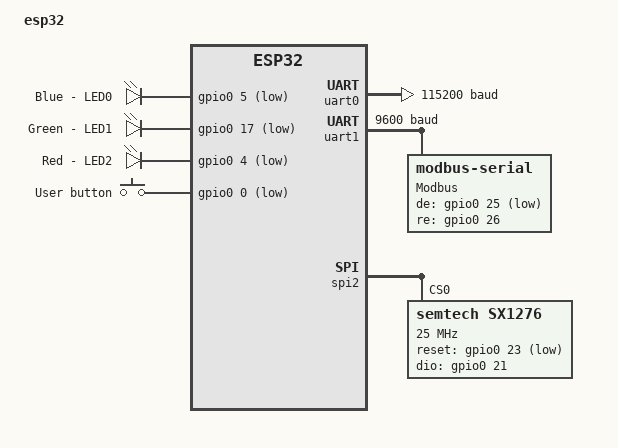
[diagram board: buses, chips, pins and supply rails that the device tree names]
/dts-v1/;

#include <espressif/esp32.dtsi>
#include "powerbot.dtsi"

/ {
	model = "esp32";
	compatible = "espressif,esp32";

	aliases {
		led0 = &blue_led;
		led1 = &green_led;
		led2 = &red_led;
		sw0 = &button0;
		lora0 = &sx1276;
	};

	chosen {
		zephyr,sram = &sram0;
		zephyr,console = &uart0;
		zephyr,shell-uart = &uart0;
		zephyr,flash = &flash0;
	};

	leds {
		compatible = "gpio-leds";

		blue_led: led_0 {
			gpios =  <&gpio0 5 GPIO_ACTIVE_LOW>;
			label = "Blue - LED0";
		};

		green_led: led_1 {
			gpios =  <&gpio0 17 GPIO_ACTIVE_LOW>;
			label = "Green - LED1";
		};

		red_led: led_2 {
			gpios =  <&gpio0 4 GPIO_ACTIVE_LOW>;
			label = "Red - LED2";
		};
	};

	buttons {
             compatible = "gpio-keys";
             button0: button_0 {
                     gpios = < &gpio0 0 GPIO_ACTIVE_LOW>;
                     label = "User button";
             };
             /* ... other buttons ... */
     };
};

&cpu0 {
	clock-frequency = <ESP32_CLK_CPU_240M>;
};

&cpu1 {
	clock-frequency = <ESP32_CLK_CPU_240M>;
};

&uart0 {
	status = "okay";
	current-speed = <115200>;
	pinctrl-0 = <&console_uart>;
	pinctrl-names = "default";
};

&uart1 {
	status = "okay";
	current-speed = <9600>;
	pinctrl-0 = <&rs485_uart>;
	pinctrl-names = "default";

	modbus0 {
		compatible = "zephyr,modbus-serial";
		status = "okay";
		label = "Modbus";
		de-gpios = <&gpio0 25 GPIO_ACTIVE_LOW>;
		re-gpios = <&gpio0 26 GPIO_ACTIVE_HIGH>;
	};
};

&gpio0 {
	status = "okay";
};

&gpio1 {
	status = "okay";
};

&spi2 {
	#address-cells = <1>;
	#size-cells = <0>;
	status = "okay";
	pinctrl-0 = <&sx1276_spi>;
	pinctrl-names = "default";

	sx1276: sx1276@0{
		compatible = "semtech,sx1276";
		label = "SX1276";
		spi-max-frequency = <25000000>;
		reg = <0>;
		reset-gpios = <&gpio0 23 GPIO_ACTIVE_LOW>;
		dio-gpios = <&gpio0 21 GPIO_ACTIVE_HIGH>;
		power-amplifier-output = "pa-boost";
	};
};


&flash0 {
	status = "okay";
	partitions {
		compatible = "fixed-partitions";
		#address-cells = <1>;
		#size-cells = <1>;

		/* Reserve 60kB for the bootloader */
		boot_partition: partition@1000 {
			label = "mcuboot";
			reg = <0x00001000 0x0000F000>;
			read-only;
		};

		/* Reserve 1024kB for the application in slot 0 */
		slot0_partition: partition@10000 {
			label = "image-0";
			reg = <0x00010000 0x00100000>;
		};

		/* Reserve 1024kB for the application in slot 1 */
		slot1_partition: partition@110000 {
			label = "image-1";
			reg = <0x00110000 0x00100000>;
		};

		/* Reserve 256kB for the scratch partition */
		scratch_partition: partition@210000 {
			   label = "image-scratch";
			   reg = <0x00210000 0x00040000>;
		};

		storage_partition: partition@250000 {
			label = "storage";
			reg = <0x00250000 0x00006000>;
		};
	};
};


